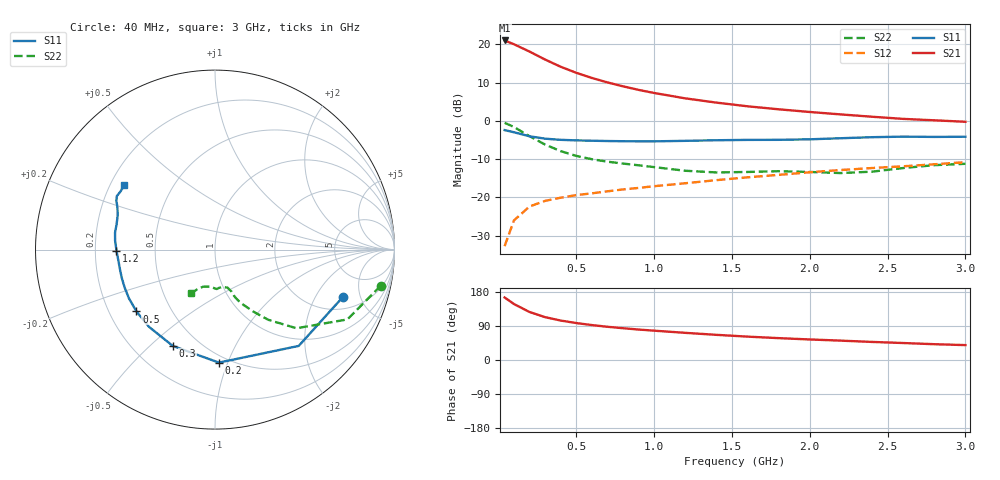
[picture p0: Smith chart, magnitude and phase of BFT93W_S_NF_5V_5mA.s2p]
! Filename:  BFT93WA.S2P  Version:  4.0
! Philips part #: BFT93W  Date: Jun 1994
! Bias condition: Vce=5V, Ic=5mA
#  MHz  S  MA  R  50
! Freq  S11  S21  S12  S22  !GUM [dB]
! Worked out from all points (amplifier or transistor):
!   21 points, 40 MHz to 3 GHz, reference 50 ohm
!   highest |S21| = 21.1 dB at 40 MHz (marker M1)
!   |S21| within 3 dB of that: start of sweep to 204.5 MHz
!   unconditionally stable (mu >= 1): 904 MHz to end of sweep
!   at 300 MHz: K = 0.49, MSG = 18.5 dB, |S12| = -20.9 dB
!   at 1 GHz: K = 1.05, MAG = 10.8 dB, |S12| = -17.1 dB
!   at 3 GHz: K = 1.11, MAG = 3.3 dB, |S12| = -10.8 dB
!   lowest NFmin = 1.80 dB at 500 MHz
!   S11 on the Smith chart (normalised r, x): 40 MHz: 2.75, -3.45; 200 MHz: 0.45, -0.93; 300 MHz: 0.36, -0.59; 500 MHz: 0.32, -0.32; 1.2 GHz: 0.29, -0.00; 3 GHz: 0.26, +0.30
40  0.759 -20.5  11.29 165.0  0.023 78.5  0.945 -12.3
100  0.711 -49.0  10.08 147.7  0.05 64.5  0.834 -27.8
200  0.63 -88.0  8.082 126.7  0.076 51.2  0.631 -44.0
300  0.586 -113.6  6.355 113.1  0.09 45.1  0.491 -52.8
400  0.566 -130.5  5.116 104.1  0.099 42.9  0.403 -58.5
500  0.557 -141.8  4.266 97.5  0.107 42.8  0.349 -62.5
600  0.551 -150.5  3.653 92.2  0.113 43.7  0.316 -65.2
700  0.546 -157.1  3.193 87.7  0.12 44.9  0.293 -66.8
800  0.543 -162.7  2.838 83.9  0.127 46.2  0.277 -67.7
900  0.541 -167.6  2.551 80.4  0.133 47.6  0.263 -68.1
1000  0.541 -172.0  2.323 77.4  0.14 49.1  0.249 -68.7
1200  0.549 -179.4  1.975 71.7  0.153 51.6  0.223 -71.8
1400  0.559 174.8  1.737 66.4  0.168 53.8  0.212 -78.3
1600  0.565 170.3  1.555 61.7  0.183 55.2  0.215 -84.5
1800  0.566 165.6  1.42 57.7  0.197 56.8  0.22 -87.5
2000  0.575 160.5  1.31 54.2  0.213 58.3  0.215 -91.0
2200  0.594 156.3  1.217 51.1  0.228 59.7  0.208 -98.1
2400  0.613 153.7  1.135 47.7  0.242 60.6  0.217 -107.7
2600  0.623 151.4  1.064 44.8  0.255 60.9  0.242 -114.1
2800  0.618 148.2  1.019 41.7  0.271 61.5  0.264 -116.9
3000  0.621 144.5  0.975 39.3  0.289 61.9  0.275 -119.3
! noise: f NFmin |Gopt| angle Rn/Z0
500  1.8  0.307  86.5  0.32
1000  2.55  0.358  121  0.28
